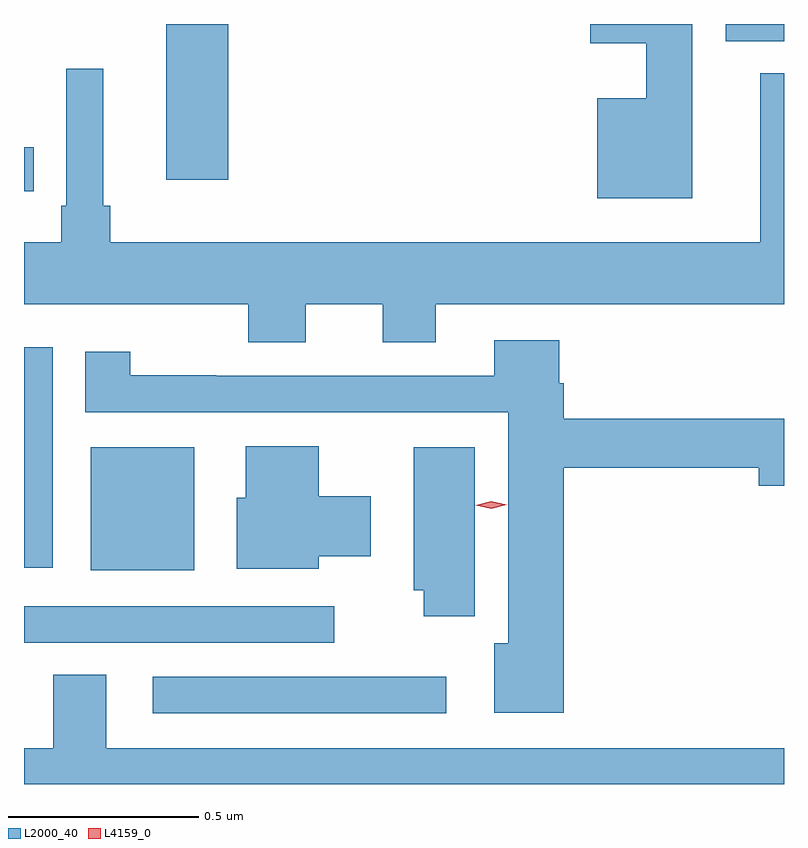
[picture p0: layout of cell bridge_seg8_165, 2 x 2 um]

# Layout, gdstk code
import gdstk
lib = gdstk.Library(unit=1e-6, precision=1e-09)
def R(c, l, rs):  # rectangles x0, y0, x1, y1
    for r in rs: c.add(gdstk.rectangle(r[:2], r[2:], *l))
def P(c, l, *ps):  # polygons
    for p in ps: c.add(gdstk.Polygon(p, *l))
L2000_40 = (2000, 40)
L4159_0 = (4159, 0)

bridge_seg8_165 = lib.new_cell('bridge_seg8_165')
R(bridge_seg8_165, L2000_40, [(591.765,1118.088,592.537,1118.184), (591.426,1118.274,592.243,1118.37), (591.602,1118.465,591.874,1118.788), (591.426,1118.471,591.502,1119.052), (591.426,1119.462,591.452,1119.578), (591.8,1119.492,591.964,1119.902), (593.273,1119.857,593.426,1119.902)])
P(bridge_seg8_165, L2000_40, [(593.185,1119.902),(592.916,1119.902),(592.916,1119.851),(593.064,1119.851),(593.064,1119.706),(592.934,1119.706),(592.934,1119.443),(593.185,1119.443)],
  [(592.168,1119.164),(592.37,1119.164),(592.37,1119.065),(592.51,1119.065),(592.51,1119.164),(593.426,1119.164),(593.426,1119.772),(593.363,1119.772),(593.363,1119.328),(591.653,1119.328),(591.653,1119.424),(591.634,1119.424),(591.634,1119.784),(591.537,1119.784),(591.537,1119.424),(591.524,1119.424),(591.524,1119.328),(591.426,1119.328),(591.426,1119.164),(592.016,1119.164),(592.016,1119.065),(592.168,1119.065)],
  [(592.847,1118.734),(593.36,1118.734),(593.36,1118.687),(593.426,1118.687),(593.426,1118.863),(592.847,1118.863),(592.847,1118.957),(592.834,1118.957),(592.834,1119.07),(592.664,1119.07),(592.664,1118.976),(591.932,1118.976),(591.932,1118.978),(591.705,1118.978),(591.705,1119.04),(591.587,1119.04),(591.587,1118.88),(592.7,1118.88),(592.7,1118.272),(592.664,1118.272),(592.664,1118.09),(592.847,1118.09)],
  [(592.201,1118.501),(592.339,1118.501),(592.339,1118.659),(592.201,1118.659),(592.201,1118.791),(592.01,1118.791),(592.01,1118.655),(591.986,1118.655),(591.986,1118.468),(592.201,1118.468)],
  [(592.612,1118.788),(592.451,1118.788),(592.451,1118.412),(592.478,1118.412),(592.478,1118.343),(592.612,1118.343)],
  [(593.426,1117.996),(591.643,1117.996),(591.643,1118.189),(591.503,1118.189),(591.503,1117.996),(591.426,1117.996),(591.426,1117.902),(593.426,1117.902)])
P(bridge_seg8_165, L4159_0, [(592.656,1118.626),(592.615,1118.636),(592.615,1118.636),(592.615,1118.636),(592.656,1118.646),(592.696,1118.637),(592.696,1118.637),(592.696,1118.637)])

lib.write_gds('bridge_seg8_165.gds')
